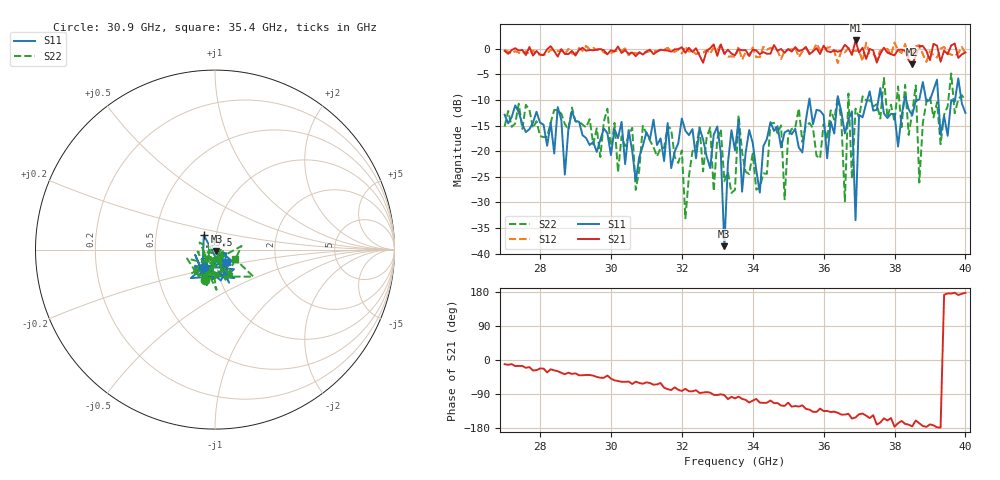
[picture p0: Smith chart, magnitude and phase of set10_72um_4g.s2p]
! Quiescent point : V1=-1.56882E-02 I1=+1.26855E-03 V2=-2.24137E-02 I2=-1.28160E-03
! Pulsed point : V1=-1.60646E-02 I1=+1.29160E-03 V2=-2.26602E-02 I2=-1.28700E-03
! Period : +2.00000E-04
! Input Supply timing : delay=+1.60000E-06 width=+2.20000E-06
! Output Supply timing : delay=+1.70000E-06 width=+2.00000E-06
! VNA timing : delay=+2.40000E-06 width=+1.10000E-06
# Hz S RI R 50
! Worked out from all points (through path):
!   131 points, 27 GHz to 40 GHz, reference 50 ohm
!   highest |S21| = 1.61 dB at 36.9 GHz (marker M1); lowest = -3.0 dB at 38.5 GHz (marker M2)
!   group delay of S21, straight-line fit = 38.5 ps
!   lowest |S11| = -38.6 dB at 33.2 GHz (marker M3), VSWR 1.02, Z = 50.8 - j0.893 ohm
!   |S11| at or under -10 dB: start of sweep to 35.59 GHz; 35.61 GHz to 36.39 GHz (784.3 MHz wide, 2.18 % of centre); 36.42 GHz to 37.23 GHz (806.4 MHz wide, 2.19 % of centre)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
!   |S22| runs from -33.1 to -4.8 dB; largest |S21 - S12| = 0.41
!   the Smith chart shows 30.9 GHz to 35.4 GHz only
!   S11 on the Smith chart (normalised r, x): 30.9 GHz: 0.87, -0.17; 33.5 GHz: 0.87, +0.14; 35.4 GHz: 1.14, -0.16
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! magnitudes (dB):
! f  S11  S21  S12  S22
! 27 GHz  -12.9  -0.4  -0.2  -15.2
! 29.2 GHz  -16.9  0.2  -0.4  -14.8
! 30.9 GHz  -19.0  -1.2  -0.8  -15.1
! 31.4 GHz  -17.5  -0.2  -0.3  -19.4
! 32.1 GHz  -16.0  -0.8  0.4  -33.1
! 33 GHz  -15.2  -1.4  -0.3  -17.6
! 33.2 GHz  -38.6  -1.0  -0.9  -25.9
! 33.5 GHz  -19.9  -1.3  -1.6  -27.5
! 33.6 GHz  -14.0  -0.1  0.3  -13.0
! 33.7 GHz  -27.9  -0.3  -2.1  -20.2
! 35.4 GHz  -20.3  -0.2  -0.5  -18.2
! 35.7 GHz  -14.7  -0.5  -0.5  -15.5
! 36.4 GHz  -9.3  -0.6  -2.8  -9.4
! 36.6 GHz  -16.5  0.8  -0.7  -29.8
! 36.7 GHz  -13.8  0.1  0.1  -8.7
! 36.8 GHz  -12.2  -1.2  -0.5  -25.4
! 36.9 GHz  -33.5  1.6  -0.4  -11.7
! 37 GHz  -12.9  -0.8  -0.4  -13.5
! 37.9 GHz  -12.7  -1.1  -1.2  -10.9
! 38.5 GHz  -13.0  -3.0  -1.0  -12.5
! 38.7 GHz  -9.9  0.5  0.7  -26.1
! 40 GHz  -12.5  -0.7  -0.8  -10.1
